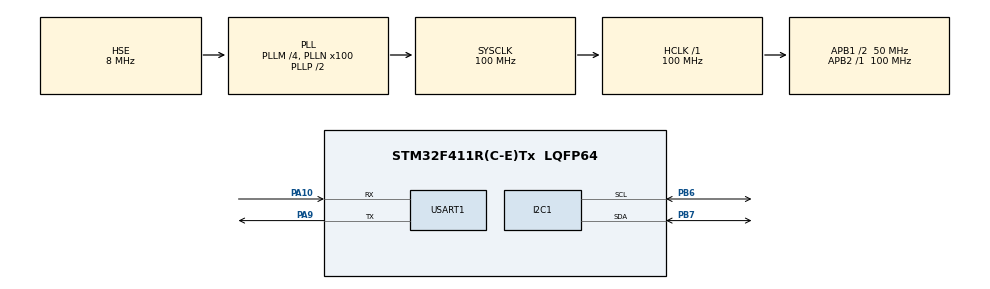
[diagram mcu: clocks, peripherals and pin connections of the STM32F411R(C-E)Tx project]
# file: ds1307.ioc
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Mcu.Family=STM32F4
Mcu.Name=STM32F411R(C-E)Tx
Mcu.Package=LQFP64
NVIC.PriorityGroup=NVIC_PRIORITYGROUP_4
NVIC.USART1_IRQn=true\:0\:0\:false\:false\:true\:true\:true\:true
PA10.Mode=Asynchronous
PA10.Signal=USART1_RX
PA13.Mode=Serial_Wire
PA13.Signal=SYS_JTMS-SWDIO
PA14.Mode=Serial_Wire
PA14.Signal=SYS_JTCK-SWCLK
PA9.Mode=Asynchronous
PA9.Signal=USART1_TX
PB6.Mode=I2C
PB6.Signal=I2C1_SCL
PB7.Mode=I2C
PB7.Signal=I2C1_SDA
PH0\ -\ OSC_IN.Mode=HSE-External-Oscillator
PH0\ -\ OSC_IN.Signal=RCC_OSC_IN
PH1\ -\ OSC_OUT.Mode=HSE-External-Oscillator
PH1\ -\ OSC_OUT.Signal=RCC_OSC_OUT
ProjectManager.HeapSize=0x200
ProjectManager.StackSize=0x400
ProjectManager.TargetToolchain=STM32CubeIDE
RCC.48MHZClocksFreq_Value=50000000
RCC.AHBFreq_Value=100000000
RCC.APB1CLKDivider=RCC_HCLK_DIV2
RCC.APB1Freq_Value=50000000
RCC.APB1TimFreq_Value=100000000
RCC.APB2Freq_Value=100000000
RCC.APB2TimFreq_Value=100000000
RCC.CortexFreq_Value=100000000
RCC.HCLKFreq_Value=100000000
RCC.HSE_VALUE=8000000
RCC.HSI_VALUE=16000000
RCC.LSE_VALUE=32768
RCC.PLLM=4
RCC.PLLN=100
RCC.PLLSourceVirtual=RCC_PLLSOURCE_HSE
RCC.SYSCLKFreq_VALUE=100000000
RCC.SYSCLKSource=RCC_SYSCLKSOURCE_PLLCLK
RCC.VCOOutputFreq_Value=200000000
USART1.VirtualMode=VM_ASYNC
board=custom

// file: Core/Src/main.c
/* USER CODE BEGIN Header */
/**
  ******************************************************************************
  * @file           : main.c
  * @brief          : Main program body
  ******************************************************************************
  * @attention
  *
  * Copyright (c) 2023 STMicroelectronics.
  * All rights reserved.
  *
  * This software is licensed under terms that can be found in the LICENSE file
  * in the root directory of this software component.
  * If no LICENSE file comes with this software, it is provided AS-IS.
  *
  ******************************************************************************
  */
/* USER CODE END Header */
#include "main.h"

/* USER CODE BEGIN Includes */
#include "rtc_ds1307.h"
#include <string.h>
#include "test_function.h"
#include "uart.h"
/* USER CODE END Includes */

I2C_HandleTypeDef hi2c1;

UART_HandleTypeDef huart1;

/* USER CODE BEGIN PV */

uint8_t second;
uint8_t minute;
uint8_t hour;
uint8_t dow;
uint8_t date;
uint8_t month;
uint16_t year;

char time_str[16];
char date_str[16];

uint8_t timee[16];
uint8_t rx_data[10];

/* USER CODE END PV */

void SystemClock_Config(void);
static void MX_GPIO_Init(void);
static void MX_I2C1_Init(void);
static void MX_USART1_UART_Init(void);

int main(void)
{

  /* MCU Configuration--------------------------------------------------------*/

  /* Reset of all peripherals, Initializes the Flash interface and the Systick. */
  HAL_Init();

  /* Configure the system clock */
  SystemClock_Config();

  /* Initialize all configured peripherals */
  MX_GPIO_Init();
  MX_I2C1_Init();
  MX_USART1_UART_Init();
  /* USER CODE BEGIN 2 */

	/* DS1307 init */
  ds1307_init(&hi2c1);
uart_init(&huart1);
//uart_receive_it(rx_data,10);
	/* Set time - (second, minute, hour_24mode, dayofweek, date, month, year) */
	ds1307_set_date_time (50, 49, 9, 2, 28, 8, 2023); // comment this line after run the first time to case loss source

//	set one register
//	dow
//	ds1307_set_dayofweek(2);
//	//date
//	ds1307_set_date(28);
//	//month
//	ds1307_set_month(8);
//	//year
//	ds1307_set_year(2023);
//	//hour
//	ds1307_set_hour(05);  // mode24h
//	//minute
//	ds1307_set_minute(37);
//	//second
//	ds1307_set_second(30);

  /* USER CODE END 2 */

  /* Infinite loop */
  /* USER CODE BEGIN WHILE */
  while (1)
  {
	/* Get current date and time. */
	  	strcpy(time_str, time_display());
	  	for (int i = 0; i < 16; i++) {
	  	    timee[i] = (uint8_t)time_str[i];
	  	}
	    //strcpy(date_str, date_display());

	//get full time
	//ds1307_get_date_time();

	//get one register
    //second
	second = ds1307_get_second();
    //minute
    minute = ds1307_get_minute();
    //hour
    hour = ds1307_get_hour();
    //dow
    dow = ds1307_get_dayofweek();
    //date
    date = ds1307_get_date();
    //month
    month = ds1307_get_month();
    //year
    year = ds1307_get_year();

    uart_transmit_it(timee, sizeof(time_str));

	time_delay(300);

    /* USER CODE END WHILE */

  }
}

void SystemClock_Config(void)
{
  RCC_OscInitTypeDef RCC_OscInitStruct = {0};
  RCC_ClkInitTypeDef RCC_ClkInitStruct = {0};

  /** Configure the main internal regulator output voltage
  */
  __HAL_RCC_PWR_CLK_ENABLE();
  __HAL_PWR_VOLTAGESCALING_CONFIG(PWR_REGULATOR_VOLTAGE_SCALE1);

  /** Initializes the RCC Oscillators according to the specified parameters
  * in the RCC_OscInitTypeDef structure.
  */
  RCC_OscInitStruct.OscillatorType = RCC_OSCILLATORTYPE_HSE;
  RCC_OscInitStruct.HSEState = RCC_HSE_ON;
  RCC_OscInitStruct.PLL.PLLState = RCC_PLL_ON;
  RCC_OscInitStruct.PLL.PLLSource = RCC_PLLSOURCE_HSE;
  RCC_OscInitStruct.PLL.PLLM = 4;
  RCC_OscInitStruct.PLL.PLLN = 100;
  RCC_OscInitStruct.PLL.PLLP = RCC_PLLP_DIV2;
  RCC_OscInitStruct.PLL.PLLQ = 4;
  if (HAL_RCC_OscConfig(&RCC_OscInitStruct) != HAL_OK)
  {
    Error_Handler();
  }

  /** Initializes the CPU, AHB and APB buses clocks
  */
  RCC_ClkInitStruct.ClockType = RCC_CLOCKTYPE_HCLK|RCC_CLOCKTYPE_SYSCLK
                              |RCC_CLOCKTYPE_PCLK1|RCC_CLOCKTYPE_PCLK2;
  RCC_ClkInitStruct.SYSCLKSource = RCC_SYSCLKSOURCE_PLLCLK;
  RCC_ClkInitStruct.AHBCLKDivider = RCC_SYSCLK_DIV1;
  RCC_ClkInitStruct.APB1CLKDivider = RCC_HCLK_DIV2;
  RCC_ClkInitStruct.APB2CLKDivider = RCC_HCLK_DIV1;

  if (HAL_RCC_ClockConfig(&RCC_ClkInitStruct, FLASH_LATENCY_3) != HAL_OK)
  {
    Error_Handler();
  }
}

static void MX_I2C1_Init(void)
{

  hi2c1.Instance = I2C1;
  hi2c1.Init.ClockSpeed = 100000;
  hi2c1.Init.DutyCycle = I2C_DUTYCYCLE_2;
  hi2c1.Init.OwnAddress1 = 0;
  hi2c1.Init.AddressingMode = I2C_ADDRESSINGMODE_7BIT;
  hi2c1.Init.DualAddressMode = I2C_DUALADDRESS_DISABLE;
  hi2c1.Init.OwnAddress2 = 0;
  hi2c1.Init.GeneralCallMode = I2C_GENERALCALL_DISABLE;
  hi2c1.Init.NoStretchMode = I2C_NOSTRETCH_DISABLE;
  if (HAL_I2C_Init(&hi2c1) != HAL_OK)
  {
    Error_Handler();
  }

}

static void MX_USART1_UART_Init(void)
{

  huart1.Instance = USART1;
  huart1.Init.BaudRate = 115200;
  huart1.Init.WordLength = UART_WORDLENGTH_8B;
  huart1.Init.StopBits = UART_STOPBITS_1;
  huart1.Init.Parity = UART_PARITY_NONE;
  huart1.Init.Mode = UART_MODE_TX_RX;
  huart1.Init.HwFlowCtl = UART_HWCONTROL_NONE;
  huart1.Init.OverSampling = UART_OVERSAMPLING_16;
  if (HAL_UART_Init(&huart1) != HAL_OK)
  {
    Error_Handler();
  }

}

static void MX_GPIO_Init(void)
{

  /* GPIO Ports Clock Enable */
  __HAL_RCC_GPIOH_CLK_ENABLE();
  __HAL_RCC_GPIOA_CLK_ENABLE();
  __HAL_RCC_GPIOB_CLK_ENABLE();

}

void Error_Handler(void)
{
  __disable_irq();
  while (1)
  {
  }
}
